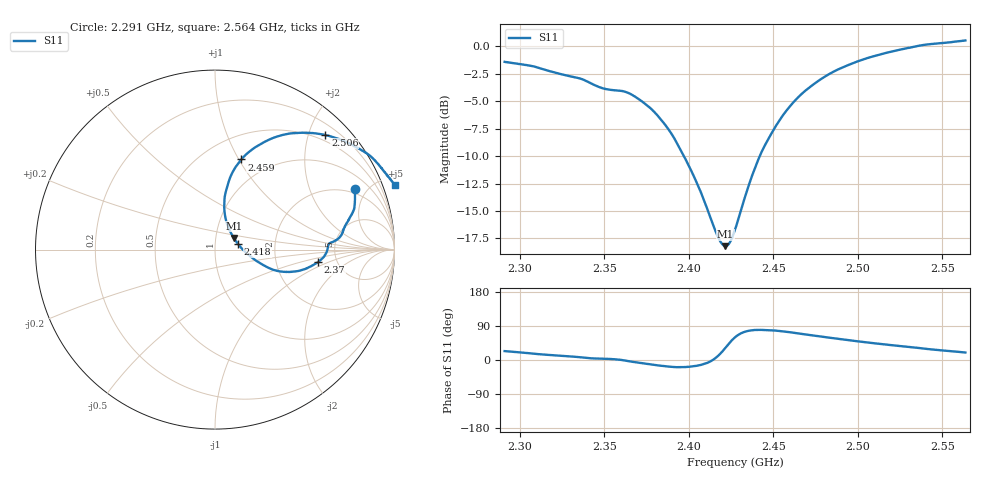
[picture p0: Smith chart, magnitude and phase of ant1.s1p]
!Agilent Technologies,N5230A,MY46400454,A.06.04.21
!Agilent N5230A: A.06.04.21
!Date: Sunday, October 28, 2018 12:13:59
!Correction: S11(Full 1 Port(1))
!S1P File: Measurement: S11:
# Hz S  dB  R 50
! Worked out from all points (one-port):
!   1601 points, 2.291 GHz to 2.564 GHz, reference 50 ohm
!   lowest |S11| = -18.2 dB at 2.421 GHz (marker M1), VSWR 1.28, Z = 61.1 + j7.96 ohm
!   |S11| at or under -10 dB: 2.397 GHz to 2.442 GHz (44.95 MHz wide, 1.86 % of centre)
!   S11 on the Smith chart (normalised r, x): 2.291 GHz: 1.69, +4.15; 2.37 GHz: 3.58, -0.74; 2.418 GHz: 1.29, +0.08; 2.459 GHz: 0.74, +1.03; 2.506 GHz: 0.39, +2.30; 2.564 GHz: -1.02, +5.56
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2.290884e9  -1.41 23.5
2.308104e9  -1.83 16.7
2.324982e9  -2.56 11.0
2.335724e9  -2.94 7.1
2.341691e9  -3.35 4.6
2.349534e9  -3.84 3.3
2.359081e9  -4.04 0.7
2.364026e9  -4.24 -2.9
2.369822e9  -4.76 -6.8
2.381928e9  -6.38 -14.4
2.39318e9  -8.88 -19.0
2.404603e9  -12.43 -15.3
2.417902e9  -17.59 13.6
2.421482e9  -18.21 31.5
2.42421e9  -17.87 46.1
2.427279e9  -16.72 59.9
2.435463e9  -12.65 77.2
2.441942e9  -10.00 79.6
2.450637e9  -7.47 77.8
2.458991e9  -5.62 73.7
2.461378e9  -5.18 72.3
2.468368e9  -4.12 67.8
2.478427e9  -2.96 61.8
2.495477e9  -1.63 51.8
2.506048e9  -1.05 46.1
2.529576e9  -0.15 34.7
2.542704e9  0.20 28.3
2.563675e9  0.54 19.8
